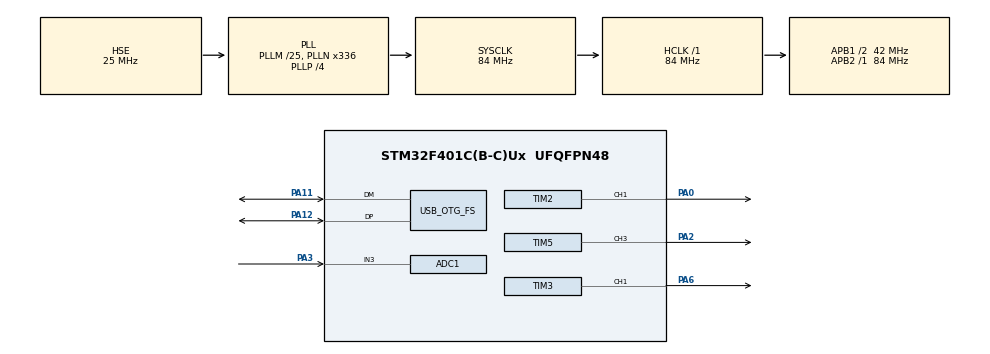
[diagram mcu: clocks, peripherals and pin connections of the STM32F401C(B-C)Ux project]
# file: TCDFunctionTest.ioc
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ADC1.Channel-0\#ChannelRegularConversion=ADC_CHANNEL_3
ADC1.DMAContinuousRequests=ENABLE
ADC1.ExternalTrigConv=ADC_EXTERNALTRIGCONV_T4_CC4
ADC1.NbrOfConversionFlag=1
ADC1.Rank-0\#ChannelRegularConversion=1
ADC1.SamplingTime-0\#ChannelRegularConversion=ADC_SAMPLETIME_3CYCLES
ADC1.master=1
Dma.ADC1.0.Direction=DMA_PERIPH_TO_MEMORY
Dma.ADC1.0.FIFOMode=DMA_FIFOMODE_DISABLE
Dma.ADC1.0.Instance=DMA2_Stream0
Dma.ADC1.0.MemDataAlignment=DMA_MDATAALIGN_HALFWORD
Dma.ADC1.0.MemInc=DMA_MINC_ENABLE
Dma.ADC1.0.Mode=DMA_NORMAL
Dma.ADC1.0.PeriphDataAlignment=DMA_PDATAALIGN_HALFWORD
Dma.ADC1.0.PeriphInc=DMA_PINC_DISABLE
Dma.ADC1.0.Priority=DMA_PRIORITY_LOW
Dma.Request0=ADC1
Mcu.Family=STM32F4
Mcu.Name=STM32F401C(B-C)Ux
Mcu.Package=UFQFPN48
NVIC.DMA2_Stream0_IRQn=true\:0\:0\:false\:false\:true\:false\:true\:true
NVIC.OTG_FS_IRQn=true\:0\:0\:false\:false\:true\:false\:true\:true
NVIC.PriorityGroup=NVIC_PRIORITYGROUP_4
NVIC.TIM2_IRQn=true\:0\:0\:false\:false\:true\:true\:true\:true
PA0-WKUP.GPIO_ModeDefaultPP=GPIO_MODE_AF_PP
PA0-WKUP.GPIO_PuPd=GPIO_PULLDOWN
PA0-WKUP.Signal=S_TIM2_CH1_ETR
PA11.Mode=Device_Only
PA11.Signal=USB_OTG_FS_DM
PA12.Mode=Device_Only
PA12.Signal=USB_OTG_FS_DP
PA2.Signal=S_TIM5_CH3
PA3.Signal=ADCx_IN3
PA6.Signal=S_TIM3_CH1
PH0\ -\ OSC_IN.Mode=HSE-External-Oscillator
PH0\ -\ OSC_IN.Signal=RCC_OSC_IN
PH1\ -\ OSC_OUT.Mode=HSE-External-Oscillator
PH1\ -\ OSC_OUT.Signal=RCC_OSC_OUT
ProjectManager.HeapSize=0x200
ProjectManager.StackSize=0x400
ProjectManager.TargetToolchain=STM32CubeIDE
RCC.48MHZClocksFreq_Value=48000000
RCC.AHBFreq_Value=84000000
RCC.APB1CLKDivider=RCC_HCLK_DIV2
RCC.APB1Freq_Value=42000000
RCC.APB1TimFreq_Value=84000000
RCC.APB2Freq_Value=84000000
RCC.APB2TimFreq_Value=84000000
RCC.CortexFreq_Value=84000000
RCC.HCLKFreq_Value=84000000
RCC.HSE_VALUE=25000000
RCC.HSI_VALUE=16000000
RCC.LSE_VALUE=32768
RCC.PLLM=25
RCC.PLLN=336
RCC.PLLP=RCC_PLLP_DIV4
RCC.PLLQ=7
RCC.SYSCLKFreq_VALUE=84000000
RCC.SYSCLKSource=RCC_SYSCLKSOURCE_PLLCLK
RCC.VCOOutputFreq_Value=336000000
SH.ADCx_IN3.0=ADC1_IN3,IN3
SH.S_TIM2_CH1_ETR.0=TIM2_CH1,PWM Generation1 CH1
SH.S_TIM3_CH1.0=TIM3_CH1,PWM Generation1 CH1
SH.S_TIM5_CH3.0=TIM5_CH3,PWM Generation3 CH3
TIM2.Channel-PWM\ Generation1\ CH1=TIM_CHANNEL_1
TIM2.Channel-PWM\ Generation2\ No\ Output=TIM_CHANNEL_2
TIM2.CounterMode=TIM_COUNTERMODE_UP
TIM2.OCMode_PWM-PWM\ Generation1\ CH1=TIM_OCMODE_PWM2
TIM2.OCPolarity_1=TIM_OCPOLARITY_LOW
TIM2.Period=525000-1
TIM2.Pulse-PWM\ Generation1\ CH1=8820-1
TIM2.Pulse-PWM\ Generation2\ No\ Output=8820-1
TIM2.TIM_MasterOutputTrigger=TIM_TRGO_ENABLE
TIM2.TIM_MasterSlaveMode=TIM_MASTERSLAVEMODE_ENABLE
TIM3.Channel-PWM\ Generation1\ CH1=TIM_CHANNEL_1
TIM3.Period=168-1
TIM3.Pulse-PWM\ Generation1\ CH1=84-1
TIM4.Channel-PWM\ Generation4\ No\ Output=TIM_CHANNEL_4
TIM4.Period=168-1
TIM4.Pulse-PWM\ Generation4\ No\ Output=42-1
TIM5.Channel-PWM\ Generation3\ CH3=TIM_CHANNEL_3
TIM5.OCPolarity_3=TIM_OCPOLARITY_LOW
TIM5.Period=525000-1
TIM5.Pulse-PWM\ Generation3\ CH3=8347-1
TIM5.TIM_MasterSlaveMode=TIM_MASTERSLAVEMODE_ENABLE
USB_DEVICE.CLASS_NAME_FS=CDC
USB_DEVICE.VirtualMode=Cdc
USB_DEVICE.VirtualModeFS=Cdc_FS
USB_OTG_FS.VirtualMode=Device_Only
VP_TIM2_VS_ClockSourceINT.Mode=Internal
VP_TIM2_VS_no_output2.Mode=PWM Generation2 No Output
VP_TIM3_VS_ClockSourceINT.Mode=Internal
VP_TIM4_VS_ClockSourceINT.Mode=Internal
VP_TIM4_VS_no_output4.Mode=PWM Generation4 No Output
VP_TIM5_VS_ClockSourceINT.Mode=Internal
VP_TIM5_VS_ClockSourceITR.Mode=TriggerSource_ITR0
VP_TIM5_VS_ControllerModeTrigger.Mode=Trigger Mode
VP_USB_DEVICE_VS_USB_DEVICE_CDC_FS.Mode=CDC_FS
board=custom

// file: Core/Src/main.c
/* USER CODE BEGIN Header */
/**
  ******************************************************************************
  * @file           : main.c
  * @brief          : Main program body
  ******************************************************************************
  * @attention
  *
  * Copyright (c) 2024 STMicroelectronics.
  * All rights reserved.
  *
  * This software is licensed under terms that can be found in the LICENSE file
  * in the root directory of this software component.
  * If no LICENSE file comes with this software, it is provided AS-IS.
  *
  ******************************************************************************
  */
/* USER CODE END Header */
#include "main.h"
#include "usb_device.h"

/* USER CODE BEGIN Includes */
#include "string.h"
#include "usbd_cdc_if.h"
/* USER CODE END Includes */

/* USER CODE BEGIN PD */
#define HEADER_SIZE 200//this is just a big enough number, to accomodate all the elements, will have to calculate the exact value later
#define FOOTER_SIZE 2 //this is not really needed but just added it for uniformity
#define CCD_PIXEL_BUFFER_SIZE (6000) // Adjust as needed for header, data, and footer

/* USER CODE END PD */

ADC_HandleTypeDef hadc1;
DMA_HandleTypeDef hdma_adc1;

TIM_HandleTypeDef htim2;
TIM_HandleTypeDef htim3;
TIM_HandleTypeDef htim4;
TIM_HandleTypeDef htim5;

/* USER CODE BEGIN PV */

// Global variables for header values, these are all from the image sent
char VersionNo[4] = "DCAM";
int MajorVersion = 1;
int FileFormatNo = 0;
int CustomizationNo = 1;
int CameraType = 1;  // Assuming 1: Line scanner camera
int DataInfo[5] = {0};  // {SizeX, SizeY, DataSet, DataByte}
int MeasureMode = 1;  // Assuming 1: Line Scanning Mode
int SheetData = 0;  // Assuming 0: Image data
int Profile = 1;  // Assuming 1: Show
char ScaleUnitChars[20] = "ADU";  // Default scale unit characters

// Buffers
char header[HEADER_SIZE];
char footer[FOOTER_SIZE];

volatile uint16_t CCDPixelBuffer[CCD_PIXEL_BUFFER_SIZE];
volatile uint16_t headertest[200];
//this is the variable to initiate the dma
volatile uint8_t start_command_received = 0;
volatile uint8_t continuous_enabled = 0;
int experiment = 1;

uint8_t signals = 2;
uint8_t count_signals = 0;

//flags
uint8_t adc_flag = 0;
uint8_t timer_flag = 0;
uint8_t single_capture_flag = 0;

/* USER CODE END PV */

void SystemClock_Config(void);
static void MX_GPIO_Init(void);
static void MX_DMA_Init(void);
static void MX_TIM2_Init(void);
static void MX_TIM3_Init(void);
static void MX_TIM4_Init(void);
static void MX_TIM5_Init(void);
static void MX_ADC1_Init(void);
/* USER CODE BEGIN PFP */
void SingleCapture();
void encodeData(uint16_t* data_buffer, uint32_t data_size);
void InitializeHeaderFooter();
void CDCReceiveCallback(uint8_t* Buf, uint32_t Len);
void HAL_ADC_ConvCpltCallback(ADC_HandleTypeDef* hadc);
void Configure_SH_Signal(uint32_t period, uint32_t pulse);
void Configure_ICG_Signal(uint32_t period, uint32_t pulse);
void Configure_MasterClock_Signal(uint32_t period, uint32_t pulse);
void CalculateAndSetIntegrationTime(uint32_t integration_time_us);

/* USER CODE END PFP */

int main(void)
{

  /* USER CODE BEGIN 1 */
	//all the main implementations are after line 547 and in the main function

  /* USER CODE END 1 */

  /* MCU Configuration--------------------------------------------------------*/

  /* Reset of all peripherals, Initializes the Flash interface and the Systick. */
  HAL_Init();

  /* Configure the system clock */
  SystemClock_Config();

  /* Initialize all configured peripherals */
  MX_GPIO_Init();
  MX_DMA_Init();
  MX_TIM2_Init();
  MX_TIM3_Init();
  MX_TIM4_Init();
  MX_TIM5_Init();
  MX_USB_DEVICE_Init();
  MX_ADC1_Init();
  /* USER CODE BEGIN 2 */
//  HAL_TIM_PWM_Start(&htim2, TIM_CHANNEL_1); //ICG
//  __HAL_TIM_SET_COUNTER(&htim2, 66);// 600ns delay
////  HAL_TIM_PWM_Start(&htim3, TIM_CHANNEL_1); //fM
//  HAL_TIM_PWM_Start(&htim4, TIM_CHANNEL_4); //ADC
//  HAL_TIM_PWM_Start(&htim5, TIM_CHANNEL_3); //SH

  if (!start_command_received) {
  CDC_Transmit_FS((uint8_t *)"Target Ready\r\n",14);
  HAL_Delay(1000);}

//  HAL_TIM_Base_Start_IT(&htim3);

  /* USER CODE END 2 */

  /* Infinite loop */
  /* USER CODE BEGIN WHILE */
  single_capture_flag = 1;

  while (1)
  {
	  SingleCapture();

    /* USER CODE END WHILE */

  }
}

void SystemClock_Config(void)
{
  RCC_OscInitTypeDef RCC_OscInitStruct = {0};
  RCC_ClkInitTypeDef RCC_ClkInitStruct = {0};

  /** Configure the main internal regulator output voltage
  */
  __HAL_RCC_PWR_CLK_ENABLE();
  __HAL_PWR_VOLTAGESCALING_CONFIG(PWR_REGULATOR_VOLTAGE_SCALE2);

  /** Initializes the RCC Oscillators according to the specified parameters
  * in the RCC_OscInitTypeDef structure.
  */
  RCC_OscInitStruct.OscillatorType = RCC_OSCILLATORTYPE_HSE;
  RCC_OscInitStruct.HSEState = RCC_HSE_ON;
  RCC_OscInitStruct.PLL.PLLState = RCC_PLL_ON;
  RCC_OscInitStruct.PLL.PLLSource = RCC_PLLSOURCE_HSE;
  RCC_OscInitStruct.PLL.PLLM = 25;
  RCC_OscInitStruct.PLL.PLLN = 336;
  RCC_OscInitStruct.PLL.PLLP = RCC_PLLP_DIV4;
  RCC_OscInitStruct.PLL.PLLQ = 7;
  if (HAL_RCC_OscConfig(&RCC_OscInitStruct) != HAL_OK)
  {
    Error_Handler();
  }

  /** Initializes the CPU, AHB and APB buses clocks
  */
  RCC_ClkInitStruct.ClockType = RCC_CLOCKTYPE_HCLK|RCC_CLOCKTYPE_SYSCLK
                              |RCC_CLOCKTYPE_PCLK1|RCC_CLOCKTYPE_PCLK2;
  RCC_ClkInitStruct.SYSCLKSource = RCC_SYSCLKSOURCE_PLLCLK;
  RCC_ClkInitStruct.AHBCLKDivider = RCC_SYSCLK_DIV1;
  RCC_ClkInitStruct.APB1CLKDivider = RCC_HCLK_DIV2;
  RCC_ClkInitStruct.APB2CLKDivider = RCC_HCLK_DIV1;

  if (HAL_RCC_ClockConfig(&RCC_ClkInitStruct, FLASH_LATENCY_2) != HAL_OK)
  {
    Error_Handler();
  }
}

static void MX_ADC1_Init(void)
{

  ADC_ChannelConfTypeDef sConfig = {0};

  /** Configure the global features of the ADC (Clock, Resolution, Data Alignment and number of conversion)
  */
  hadc1.Instance = ADC1;
  hadc1.Init.ClockPrescaler = ADC_CLOCK_SYNC_PCLK_DIV4;
  hadc1.Init.Resolution = ADC_RESOLUTION_12B;
  hadc1.Init.ScanConvMode = DISABLE;
  hadc1.Init.ContinuousConvMode = DISABLE;
  hadc1.Init.DiscontinuousConvMode = DISABLE;
  hadc1.Init.ExternalTrigConvEdge = ADC_EXTERNALTRIGCONVEDGE_RISING;
  hadc1.Init.ExternalTrigConv = ADC_EXTERNALTRIGCONV_T4_CC4;
  hadc1.Init.DataAlign = ADC_DATAALIGN_RIGHT;
  hadc1.Init.NbrOfConversion = 1;
  hadc1.Init.DMAContinuousRequests = ENABLE;
  hadc1.Init.EOCSelection = ADC_EOC_SINGLE_CONV;
  if (HAL_ADC_Init(&hadc1) != HAL_OK)
  {
    Error_Handler();
  }

  /** Configure for the selected ADC regular channel its corresponding rank in the sequencer and its sample time.
  */
  sConfig.Channel = ADC_CHANNEL_3;
  sConfig.Rank = 1;
  sConfig.SamplingTime = ADC_SAMPLETIME_3CYCLES;
  if (HAL_ADC_ConfigChannel(&hadc1, &sConfig) != HAL_OK)
  {
    Error_Handler();
  }

}

static void MX_TIM2_Init(void)
{

  TIM_ClockConfigTypeDef sClockSourceConfig = {0};
  TIM_MasterConfigTypeDef sMasterConfig = {0};
  TIM_OC_InitTypeDef sConfigOC = {0};

  htim2.Instance = TIM2;
  htim2.Init.Prescaler = 0;
  htim2.Init.CounterMode = TIM_COUNTERMODE_UP;
  htim2.Init.Period = 525000-1;
  htim2.Init.ClockDivision = TIM_CLOCKDIVISION_DIV1;
  htim2.Init.AutoReloadPreload = TIM_AUTORELOAD_PRELOAD_DISABLE;
  if (HAL_TIM_Base_Init(&htim2) != HAL_OK)
  {
    Error_Handler();
  }
  sClockSourceConfig.ClockSource = TIM_CLOCKSOURCE_INTERNAL;
  if (HAL_TIM_ConfigClockSource(&htim2, &sClockSourceConfig) != HAL_OK)
  {
    Error_Handler();
  }
  if (HAL_TIM_PWM_Init(&htim2) != HAL_OK)
  {
    Error_Handler();
  }
  sMasterConfig.MasterOutputTrigger = TIM_TRGO_ENABLE;
  sMasterConfig.MasterSlaveMode = TIM_MASTERSLAVEMODE_ENABLE;
  if (HAL_TIMEx_MasterConfigSynchronization(&htim2, &sMasterConfig) != HAL_OK)
  {
    Error_Handler();
  }
  sConfigOC.OCMode = TIM_OCMODE_PWM2;
  sConfigOC.Pulse = 8820-1;
  sConfigOC.OCPolarity = TIM_OCPOLARITY_LOW;
  sConfigOC.OCFastMode = TIM_OCFAST_DISABLE;
  if (HAL_TIM_PWM_ConfigChannel(&htim2, &sConfigOC, TIM_CHANNEL_1) != HAL_OK)
  {
    Error_Handler();
  }
  sConfigOC.OCMode = TIM_OCMODE_PWM1;
  sConfigOC.OCPolarity = TIM_OCPOLARITY_HIGH;
  if (HAL_TIM_PWM_ConfigChannel(&htim2, &sConfigOC, TIM_CHANNEL_2) != HAL_OK)
  {
    Error_Handler();
  }
  HAL_TIM_MspPostInit(&htim2);

}

static void MX_TIM3_Init(void)
{

  TIM_ClockConfigTypeDef sClockSourceConfig = {0};
  TIM_MasterConfigTypeDef sMasterConfig = {0};
  TIM_OC_InitTypeDef sConfigOC = {0};

  htim3.Instance = TIM3;
  htim3.Init.Prescaler = 0;
  htim3.Init.CounterMode = TIM_COUNTERMODE_UP;
  htim3.Init.Period = 168-1;
  htim3.Init.ClockDivision = TIM_CLOCKDIVISION_DIV1;
  htim3.Init.AutoReloadPreload = TIM_AUTORELOAD_PRELOAD_DISABLE;
  if (HAL_TIM_Base_Init(&htim3) != HAL_OK)
  {
    Error_Handler();
  }
  sClockSourceConfig.ClockSource = TIM_CLOCKSOURCE_INTERNAL;
  if (HAL_TIM_ConfigClockSource(&htim3, &sClockSourceConfig) != HAL_OK)
  {
    Error_Handler();
  }
  if (HAL_TIM_PWM_Init(&htim3) != HAL_OK)
  {
    Error_Handler();
  }
  sMasterConfig.MasterOutputTrigger = TIM_TRGO_RESET;
  sMasterConfig.MasterSlaveMode = TIM_MASTERSLAVEMODE_DISABLE;
  if (HAL_TIMEx_MasterConfigSynchronization(&htim3, &sMasterConfig) != HAL_OK)
  {
    Error_Handler();
  }
  sConfigOC.OCMode = TIM_OCMODE_PWM1;
  sConfigOC.Pulse = 84-1;
  sConfigOC.OCPolarity = TIM_OCPOLARITY_HIGH;
  sConfigOC.OCFastMode = TIM_OCFAST_DISABLE;
  if (HAL_TIM_PWM_ConfigChannel(&htim3, &sConfigOC, TIM_CHANNEL_1) != HAL_OK)
  {
    Error_Handler();
  }
  HAL_TIM_MspPostInit(&htim3);

}

static void MX_TIM4_Init(void)
{

  TIM_ClockConfigTypeDef sClockSourceConfig = {0};
  TIM_MasterConfigTypeDef sMasterConfig = {0};
  TIM_OC_InitTypeDef sConfigOC = {0};

  htim4.Instance = TIM4;
  htim4.Init.Prescaler = 0;
  htim4.Init.CounterMode = TIM_COUNTERMODE_UP;
  htim4.Init.Period = 168-1;
  htim4.Init.ClockDivision = TIM_CLOCKDIVISION_DIV1;
  htim4.Init.AutoReloadPreload = TIM_AUTORELOAD_PRELOAD_DISABLE;
  if (HAL_TIM_Base_Init(&htim4) != HAL_OK)
  {
    Error_Handler();
  }
  sClockSourceConfig.ClockSource = TIM_CLOCKSOURCE_INTERNAL;
  if (HAL_TIM_ConfigClockSource(&htim4, &sClockSourceConfig) != HAL_OK)
  {
    Error_Handler();
  }
  if (HAL_TIM_PWM_Init(&htim4) != HAL_OK)
  {
    Error_Handler();
  }
  sMasterConfig.MasterOutputTrigger = TIM_TRGO_RESET;
  sMasterConfig.MasterSlaveMode = TIM_MASTERSLAVEMODE_DISABLE;
  if (HAL_TIMEx_MasterConfigSynchronization(&htim4, &sMasterConfig) != HAL_OK)
  {
    Error_Handler();
  }
  sConfigOC.OCMode = TIM_OCMODE_PWM1;
  sConfigOC.Pulse = 42-1;
  sConfigOC.OCPolarity = TIM_OCPOLARITY_HIGH;
  sConfigOC.OCFastMode = TIM_OCFAST_DISABLE;
  if (HAL_TIM_PWM_ConfigChannel(&htim4, &sConfigOC, TIM_CHANNEL_4) != HAL_OK)
  {
    Error_Handler();
  }

}

static void MX_TIM5_Init(void)
{

  TIM_ClockConfigTypeDef sClockSourceConfig = {0};
  TIM_SlaveConfigTypeDef sSlaveConfig = {0};
  TIM_MasterConfigTypeDef sMasterConfig = {0};
  TIM_OC_InitTypeDef sConfigOC = {0};

  htim5.Instance = TIM5;
  htim5.Init.Prescaler = 0;
  htim5.Init.CounterMode = TIM_COUNTERMODE_UP;
  htim5.Init.Period = 525000-1;
  htim5.Init.ClockDivision = TIM_CLOCKDIVISION_DIV1;
  htim5.Init.AutoReloadPreload = TIM_AUTORELOAD_PRELOAD_DISABLE;
  if (HAL_TIM_Base_Init(&htim5) != HAL_OK)
  {
    Error_Handler();
  }
  sClockSourceConfig.ClockSource = TIM_CLOCKSOURCE_INTERNAL;
  if (HAL_TIM_ConfigClockSource(&htim5, &sClockSourceConfig) != HAL_OK)
  {
    Error_Handler();
  }
  if (HAL_TIM_PWM_Init(&htim5) != HAL_OK)
  {
    Error_Handler();
  }
  sSlaveConfig.SlaveMode = TIM_SLAVEMODE_TRIGGER;
  sSlaveConfig.InputTrigger = TIM_TS_ITR0;
  if (HAL_TIM_SlaveConfigSynchro(&htim5, &sSlaveConfig) != HAL_OK)
  {
    Error_Handler();
  }
  sMasterConfig.MasterOutputTrigger = TIM_TRGO_RESET;
  sMasterConfig.MasterSlaveMode = TIM_MASTERSLAVEMODE_ENABLE;
  if (HAL_TIMEx_MasterConfigSynchronization(&htim5, &sMasterConfig) != HAL_OK)
  {
    Error_Handler();
  }
  sConfigOC.OCMode = TIM_OCMODE_PWM1;
  sConfigOC.Pulse = 8347-1;
  sConfigOC.OCPolarity = TIM_OCPOLARITY_LOW;
  sConfigOC.OCFastMode = TIM_OCFAST_DISABLE;
  if (HAL_TIM_PWM_ConfigChannel(&htim5, &sConfigOC, TIM_CHANNEL_3) != HAL_OK)
  {
    Error_Handler();
  }
  HAL_TIM_MspPostInit(&htim5);

}

static void MX_DMA_Init(void)
{

  /* DMA controller clock enable */
  __HAL_RCC_DMA2_CLK_ENABLE();

  /* DMA interrupt init */
  /* DMA2_Stream0_IRQn interrupt configuration */
  HAL_NVIC_SetPriority(DMA2_Stream0_IRQn, 0, 0);
  HAL_NVIC_EnableIRQ(DMA2_Stream0_IRQn);

}

static void MX_GPIO_Init(void)
{

  /* GPIO Ports Clock Enable */
  __HAL_RCC_GPIOH_CLK_ENABLE();
  __HAL_RCC_GPIOA_CLK_ENABLE();

}

/* USER CODE BEGIN 4 */
void SingleCapture(){
	if(timer_flag == 1){
		count_signals++;
		timer_flag = 0;
	}
	if(single_capture_flag == 1){
	  __HAL_TIM_SET_COUNTER(&htim2, 66);// 600ns delay for icg
	  __HAL_TIM_SET_COUNTER(&htim5, 0); // sh
	  __HAL_TIM_SET_COUNTER(&htim3, 0); // fm
	  HAL_TIM_PWM_Start_IT(&htim2, TIM_CHANNEL_2);
	  HAL_TIM_PWM_Start(&htim2, TIM_CHANNEL_1); //ICG
	  HAL_TIM_PWM_Start(&htim5, TIM_CHANNEL_3); //SH
	  HAL_TIM_PWM_Start(&htim3, TIM_CHANNEL_1); //fM
	  HAL_TIM_PWM_Start(&htim4, TIM_CHANNEL_4); //ADC
	  HAL_ADC_Start_DMA(&hadc1, (uint32_t*) CCDPixelBuffer, CCD_PIXEL_BUFFER_SIZE);
	  single_capture_flag = 0;
	}

	  if(count_signals >= signals){
		  HAL_TIM_PWM_Stop(&htim2, TIM_CHANNEL_1); //ICG
		  HAL_TIM_PWM_Stop(&htim5, TIM_CHANNEL_3); //SH
  		  HAL_TIM_PWM_Stop(&htim3, TIM_CHANNEL_1); //fM
  		  HAL_TIM_PWM_Stop(&htim4, TIM_CHANNEL_4); //ADC
  	   	  HAL_TIM_PWM_Stop_IT(&htim2, TIM_CHANNEL_2);
  		  count_signals = 0;

	  }

}

void HAL_TIM_PWM_PulseFinishedCallback(TIM_HandleTypeDef *htim){
		if (htim->Instance == TIM2) {
			timer_flag = 1;
			}
		}

//when the stm receives anything, it checks if it is the string start

void CDCReceiveCallback(uint8_t* Buf, uint32_t Len) {
    // Ensure the buffer is null-terminated
    Buf[Len] = '\0';

    // Check for the "start" command
    if (strncmp((char*)Buf, "start", 5) == 0) {
    	signals = 2;
    	count_signals = 0;
    	adc_flag = 0;
    	timer_flag = 0;
    	single_capture_flag = 0;
    	single_capture_flag = 1;

    }
}
/* USER CODE END 4 */

void Error_Handler(void)
{
  __disable_irq();
  while (1)
  {
  }
}
